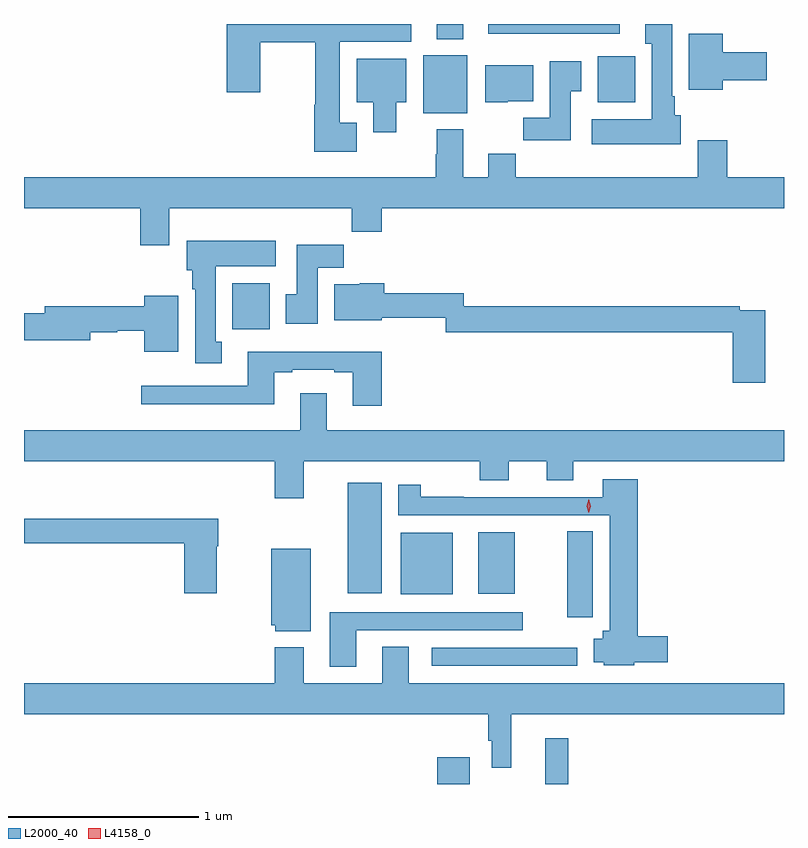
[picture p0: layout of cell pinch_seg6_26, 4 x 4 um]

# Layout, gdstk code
import gdstk
lib = gdstk.Library(unit=1e-6, precision=1e-09)
def R(c, l, rs):  # rectangles x0, y0, x1, y1
    for r in rs: c.add(gdstk.rectangle(r[:2], r[2:], *l))
def P(c, l, *ps):  # polygons
    for p in ps: c.add(gdstk.Polygon(p, *l))
L2000_40 = (2000, 40)
L4158_0 = (4158, 0)

pinch_seg6_26 = lib.new_cell('pinch_seg6_26')
R(pinch_seg6_26, L2000_40, [(965.864,973.61,966.034,973.75), (966.431,973.61,966.553,973.852), (965.835,974.232,966.601,974.328), (966.548,974.487,966.682,974.939), (965.672,974.609,965.944,974.932), (966.08,974.612,966.271,974.935), (965.393,974.615,965.572,975.196), (964.784,976.004,964.981,976.246), (965.789,977.141,966.022,977.446), (966.707,977.198,966.904,977.44), (965.861,977.531,966.001,977.61), (966.131,977.558,966.823,977.61)])
P(pinch_seg6_26, L2000_40, [(967.144,977.13),(967.114,977.13),(967.114,977.23),(967.099,977.23),(967.099,977.61),(966.959,977.61),(966.959,977.507),(966.992,977.507),(966.992,977.11),(966.675,977.11),(966.675,976.976),(967.144,976.976)],
  [(965.44,977.089),(965.35,977.089),(965.35,977.516),(965.725,977.516),(965.725,977.61),(964.754,977.61),(964.754,977.25),(964.932,977.25),(964.932,977.515),(965.221,977.515),(965.221,977.185),(965.216,977.185),(965.216,976.937),(965.44,976.937)],
  [(967.366,977.315),(967.597,977.315),(967.597,977.462),(967.366,977.462),(967.366,977.56),(967.187,977.56),(967.187,977.264),(967.366,977.264)],
  [(965.647,977.198),(965.701,977.198),(965.701,977.428),(965.438,977.428),(965.438,977.198),(965.525,977.198),(965.525,977.04),(965.647,977.04)],
  [(966.565,977.257),(966.622,977.257),(966.622,977.413),(966.455,977.413),(966.455,977.116),(966.316,977.116),(966.316,976.998),(966.565,976.998)],
  [(966.234,977.204),(966.367,977.204),(966.367,977.392),(966.116,977.392),(966.116,977.198),(966.234,977.198)],
  [(964.453,976.64),(965.413,976.64),(965.413,976.516),(965.57,976.516),(965.57,976.64),(967.688,976.64),(967.688,976.804),(967.388,976.804),(967.388,976.999),(967.235,976.999),(967.235,976.804),(966.275,976.804),(966.275,976.928),(966.131,976.928),(966.131,976.804),(966.001,976.804),(966.001,977.056),(965.861,977.056),(965.861,976.925),(965.854,976.925),(965.854,976.804),(963.688,976.804),(963.688,976.64),(964.301,976.64),(964.301,976.446),(964.453,976.446)],
  [(964.729,975.938),(964.696,975.938),(964.696,976.334),(965.014,976.334),(965.014,976.468),(964.544,976.468),(964.544,976.314),(964.574,976.314),(964.574,976.214),(964.589,976.214),(964.589,975.825),(964.729,975.825)],
  [(965.233,976.328),(965.372,976.328),(965.372,976.447),(965.123,976.447),(965.123,976.188),(965.066,976.188),(965.066,976.032),(965.233,976.032)],
  [(967.588,976.104),(967.454,976.104),(967.454,976.124),(966.003,976.124),(966.003,976.192),(965.585,976.192),(965.585,976.246),(965.454,976.246),(965.454,976.24),(965.321,976.24),(965.321,976.052),(965.572,976.052),(965.572,976.063),(965.907,976.063),(965.907,975.988),(967.418,975.988),(967.418,975.723),(967.588,975.723)],
  [(964.501,976.18),(964.322,976.18),(964.322,976.124),(963.797,976.124),(963.797,976.088),(963.688,976.088),(963.688,975.946),(964.036,975.946),(964.036,975.988),(964.179,975.988),(964.179,975.996),(964.322,975.996),(964.322,975.884),(964.501,975.884)],
  [(965.57,975.886),(964.865,975.886),(964.865,975.705),(964.305,975.705),(964.305,975.608),(965.005,975.608),(965.005,975.777),(965.101,975.777),(965.101,975.789),(965.321,975.789),(965.321,975.777),(965.417,975.777),(965.417,975.6),(965.57,975.6)],
  [(965.161,975.308),(966.086,975.308),(966.086,975.209),(966.238,975.209),(966.238,975.308),(966.44,975.308),(966.44,975.209),(966.58,975.209),(966.58,975.308),(967.688,975.308),(967.688,975.472),(965.281,975.472),(965.281,975.667),(965.141,975.667),(965.141,975.472),(963.688,975.472),(963.688,975.308),(965.009,975.308),(965.009,975.114),(965.161,975.114)],
  [(966.9,974.252),(967.075,974.252),(967.075,974.387),(966.917,974.387),(966.917,975.214),(966.734,975.214),(966.734,975.12),(966.002,975.12),(966.002,975.122),(965.775,975.122),(965.775,975.184),(965.657,975.184),(965.657,975.024),(966.77,975.024),(966.77,974.416),(966.734,974.416),(966.734,974.374),(966.686,974.374),(966.686,974.252),(966.738,974.252),(966.738,974.234),(966.9,974.234)],
  [(964.702,974.861),(964.71,974.861),(964.71,975.007),(963.688,975.007),(963.688,974.878),(964.532,974.878),(964.532,974.613),(964.702,974.613)],
  [(965.197,974.848),(964.988,974.848),(964.988,974.445),(965.01,974.445),(965.01,974.414),(965.197,974.414)],
  [(965.437,974.418),(966.313,974.418),(966.313,974.514),(965.297,974.514),(965.297,974.226),(965.437,974.226)],
  [(966.253,973.976),(967.688,973.976),(967.688,974.14),(965.713,974.14),(965.713,974.333),(965.573,974.333),(965.573,974.14),(965.161,974.14),(965.161,974.329),(965.009,974.329),(965.009,974.14),(963.688,974.14),(963.688,973.976),(966.132,973.976),(966.132,973.837),(966.149,973.837),(966.149,973.695),(966.253,973.695)])
P(pinch_seg6_26, L4158_0, [(966.66,975.037),(966.66,975.037),(966.65,975.073),(966.66,975.109),(966.66,975.109),(966.661,975.109),(966.67,975.073),(966.661,975.037)])

lib.write_gds('pinch_seg6_26.gds')
